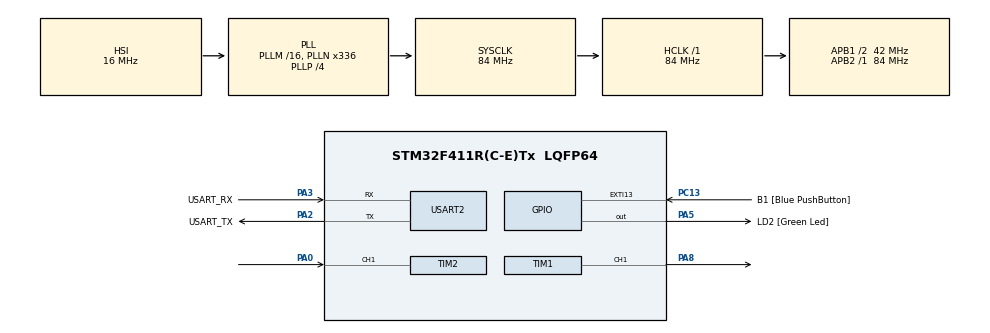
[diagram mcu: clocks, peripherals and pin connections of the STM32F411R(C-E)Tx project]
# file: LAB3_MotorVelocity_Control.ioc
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Dma.Request0=TIM2_CH1
Dma.TIM2_CH1.0.Direction=DMA_PERIPH_TO_MEMORY
Dma.TIM2_CH1.0.FIFOMode=DMA_FIFOMODE_DISABLE
Dma.TIM2_CH1.0.Instance=DMA1_Stream5
Dma.TIM2_CH1.0.MemDataAlignment=DMA_MDATAALIGN_WORD
Dma.TIM2_CH1.0.MemInc=DMA_MINC_ENABLE
Dma.TIM2_CH1.0.Mode=DMA_CIRCULAR
Dma.TIM2_CH1.0.PeriphDataAlignment=DMA_PDATAALIGN_WORD
Dma.TIM2_CH1.0.PeriphInc=DMA_PINC_DISABLE
Dma.TIM2_CH1.0.Priority=DMA_PRIORITY_LOW
Mcu.Family=STM32F4
Mcu.Name=STM32F411R(C-E)Tx
Mcu.Package=LQFP64
NVIC.DMA1_Stream5_IRQn=true\:0\:0\:false\:false\:true\:false\:true\:true
NVIC.PriorityGroup=NVIC_PRIORITYGROUP_0
PA0-WKUP.Signal=S_TIM2_CH1_ETR
PA13.GPIO_Label=TMS
PA13.Mode=Serial_Wire
PA13.Signal=SYS_JTMS-SWDIO
PA14.GPIO_Label=TCK
PA14.Mode=Serial_Wire
PA14.Signal=SYS_JTCK-SWCLK
PA2.GPIO_Label=USART_TX
PA2.Mode=Asynchronous
PA2.Signal=USART2_TX
PA3.GPIO_Label=USART_RX
PA3.Mode=Asynchronous
PA3.Signal=USART2_RX
PA5.GPIO_Label=LD2 [Green Led]
PA5.Signal=GPIO_Output
PA8.Signal=S_TIM1_CH1
PB3.GPIO_Label=SWO
PB3.Signal=SYS_JTDO-SWO
PC13-ANTI_TAMP.GPIO_Label=B1 [Blue PushButton]
PC13-ANTI_TAMP.GPIO_ModeDefaultEXTI=GPIO_MODE_IT_FALLING
PC13-ANTI_TAMP.Signal=GPXTI13
PC14-OSC32_IN.Mode=LSE-External-Oscillator
PC14-OSC32_IN.Signal=RCC_OSC32_IN
PC15-OSC32_OUT.Mode=LSE-External-Oscillator
PC15-OSC32_OUT.Signal=RCC_OSC32_OUT
PH0\ -\ OSC_IN.Mode=HSE-External-Clock-Source
PH0\ -\ OSC_IN.Signal=RCC_OSC_IN
PH1\ -\ OSC_OUT.Mode=HSE-External-Clock-Source
PH1\ -\ OSC_OUT.Signal=RCC_OSC_OUT
ProjectManager.HeapSize=0x200
ProjectManager.StackSize=0x400
ProjectManager.TargetToolchain=STM32CubeIDE
RCC.48MHZClocksFreq_Value=84000000
RCC.AHBFreq_Value=84000000
RCC.APB1CLKDivider=RCC_HCLK_DIV2
RCC.APB1Freq_Value=42000000
RCC.APB1TimFreq_Value=84000000
RCC.APB2Freq_Value=84000000
RCC.APB2TimFreq_Value=84000000
RCC.CortexFreq_Value=84000000
RCC.FLatency-AdvancedSettings=FLASH_LATENCY_2
RCC.HCLKFreq_Value=84000000
RCC.HSE_VALUE=8000000
RCC.HSI_VALUE=16000000
RCC.PLLN=336
RCC.PLLP=RCC_PLLP_DIV4
RCC.SYSCLKFreq_VALUE=84000000
RCC.SYSCLKSource=RCC_SYSCLKSOURCE_PLLCLK
RCC.VCOOutputFreq_Value=336000000
SH.S_TIM1_CH1.0=TIM1_CH1,PWM Generation1 CH1
SH.S_TIM2_CH1_ETR.0=TIM2_CH1,Input_Capture1_from_TI1
TIM1.Channel-PWM\ Generation1\ CH1=TIM_CHANNEL_1
TIM1.Period=999
TIM1.Prescaler=83
TIM1.Pulse-PWM\ Generation1\ CH1=500
TIM2.Channel-Input_Capture1_from_TI1=TIM_CHANNEL_1
TIM2.Prescaler=83
USART2.VirtualMode=VM_ASYNC
VP_TIM2_VS_ClockSourceINT.Mode=Internal
board=NUCLEO-F411RE

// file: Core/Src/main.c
/* USER CODE BEGIN Header */
/**
  ******************************************************************************
  * @file           : main.c
  * @brief          : Main program body
  ******************************************************************************
  * @attention
  *
  * Copyright (c) 2023 STMicroelectronics.
  * All rights reserved.
  *
  * This software is licensed under terms that can be found in the LICENSE file
  * in the root directory of this software component.
  * If no LICENSE file comes with this software, it is provided AS-IS.
  *
  ******************************************************************************
  */
/* USER CODE END Header */
#include "main.h"

/* USER CODE BEGIN Includes */

//Size of Input Capture's Buffer
#define IC_BUFFER_SIZE 20

/* USER CODE END Includes */

TIM_HandleTypeDef htim1;
TIM_HandleTypeDef htim2;
DMA_HandleTypeDef hdma_tim2_ch1;

UART_HandleTypeDef huart2;

/* USER CODE BEGIN PV */

uint32_t InCapBuffer[IC_BUFFER_SIZE];
uint32_t dutyCycle = 500;
float AvgRaisingEdgePeriod;		//Pulse period
float AvgMotorVelocity;			//rpm

int MotorControlEnable = 0;		//0 = Unable to control, 1 = Able to control
float MotorSetRPM;

uint32_t dutyCycleOut;
/* USER CODE END PV */

void SystemClock_Config(void);
static void MX_GPIO_Init(void);
static void MX_DMA_Init(void);
static void MX_USART2_UART_Init(void);
static void MX_TIM2_Init(void);
static void MX_TIM1_Init(void);
/* USER CODE BEGIN PFP */

float IC_Cal_Period();
/* USER CODE END PFP */

int main(void)
{

  /* MCU Configuration--------------------------------------------------------*/

  /* Reset of all peripherals, Initializes the Flash interface and the Systick. */
  HAL_Init();

  /* Configure the system clock */
  SystemClock_Config();

  /* Initialize all configured peripherals */
  MX_GPIO_Init();
  MX_DMA_Init();
  MX_USART2_UART_Init();
  MX_TIM2_Init();
  MX_TIM1_Init();
  /* USER CODE BEGIN 2 */

  HAL_TIM_Base_Start(&htim2);
  HAL_TIM_IC_Start_DMA(&htim2, TIM_CHANNEL_1, InCapBuffer, IC_BUFFER_SIZE);

  HAL_TIM_Base_Start(&htim1);
  HAL_TIM_PWM_Start(&htim1, TIM_CHANNEL_1);

  /* USER CODE END 2 */

  /* Infinite loop */
  while (1)
  {

    /* USER CODE BEGIN 3 */
	  static int plus = 0;
	  static uint32_t timestamp = 0;
	  if (HAL_GetTick() >= timestamp)
	  {
		  timestamp = HAL_GetTick() + 10;
		  AvgRaisingEdgePeriod = IC_Cal_Period() * 0.000001;	//In second
		  AvgMotorVelocity = 1.0/(AvgRaisingEdgePeriod * 12.0) * 60 / 64;	//rpm
		  switch (MotorControlEnable)
		  {
		  	  case 0:
		  		  __HAL_TIM_SET_COMPARE(&htim1, TIM_CHANNEL_1, abs(dutyCycle));
			  break;

		  	  case 1:
		  		  //MotorSetRPM = abs(MotorSetRPM);
		  		  dutyCycleOut = (0.0027*pow(MotorSetRPM,4.0) - 0.0517*pow(MotorSetRPM,3.0) + 0.321*pow(MotorSetRPM,2.0) + 3.3019*MotorSetRPM + 8.9974)*10 + plus;
		  		  __HAL_TIM_SET_COMPARE(&htim1, TIM_CHANNEL_1, dutyCycleOut);
		  		  if (AvgMotorVelocity < MotorSetRPM && dutyCycleOut <= 1000)
		  		  {
		  			  plus += 1;
		  		  }
		  		  else if (AvgMotorVelocity > MotorSetRPM && dutyCycleOut >= 100)
		  		  {
		  			  plus -= 1;
		  		  }
		  	  break;

		  }

	  }
  }
  /* USER CODE END 3 */
}

void SystemClock_Config(void)
{
  RCC_OscInitTypeDef RCC_OscInitStruct = {0};
  RCC_ClkInitTypeDef RCC_ClkInitStruct = {0};

  /** Configure the main internal regulator output voltage
  */
  __HAL_RCC_PWR_CLK_ENABLE();
  __HAL_PWR_VOLTAGESCALING_CONFIG(PWR_REGULATOR_VOLTAGE_SCALE1);

  /** Initializes the RCC Oscillators according to the specified parameters
  * in the RCC_OscInitTypeDef structure.
  */
  RCC_OscInitStruct.OscillatorType = RCC_OSCILLATORTYPE_HSI;
  RCC_OscInitStruct.HSIState = RCC_HSI_ON;
  RCC_OscInitStruct.HSICalibrationValue = RCC_HSICALIBRATION_DEFAULT;
  RCC_OscInitStruct.PLL.PLLState = RCC_PLL_ON;
  RCC_OscInitStruct.PLL.PLLSource = RCC_PLLSOURCE_HSI;
  RCC_OscInitStruct.PLL.PLLM = 16;
  RCC_OscInitStruct.PLL.PLLN = 336;
  RCC_OscInitStruct.PLL.PLLP = RCC_PLLP_DIV4;
  RCC_OscInitStruct.PLL.PLLQ = 4;
  if (HAL_RCC_OscConfig(&RCC_OscInitStruct) != HAL_OK)
  {
    Error_Handler();
  }

  /** Initializes the CPU, AHB and APB buses clocks
  */
  RCC_ClkInitStruct.ClockType = RCC_CLOCKTYPE_HCLK|RCC_CLOCKTYPE_SYSCLK
                              |RCC_CLOCKTYPE_PCLK1|RCC_CLOCKTYPE_PCLK2;
  RCC_ClkInitStruct.SYSCLKSource = RCC_SYSCLKSOURCE_PLLCLK;
  RCC_ClkInitStruct.AHBCLKDivider = RCC_SYSCLK_DIV1;
  RCC_ClkInitStruct.APB1CLKDivider = RCC_HCLK_DIV2;
  RCC_ClkInitStruct.APB2CLKDivider = RCC_HCLK_DIV1;

  if (HAL_RCC_ClockConfig(&RCC_ClkInitStruct, FLASH_LATENCY_2) != HAL_OK)
  {
    Error_Handler();
  }
}

static void MX_TIM1_Init(void)
{

  TIM_MasterConfigTypeDef sMasterConfig = {0};
  TIM_OC_InitTypeDef sConfigOC = {0};
  TIM_BreakDeadTimeConfigTypeDef sBreakDeadTimeConfig = {0};

  htim1.Instance = TIM1;
  htim1.Init.Prescaler = 83;
  htim1.Init.CounterMode = TIM_COUNTERMODE_UP;
  htim1.Init.Period = 999;
  htim1.Init.ClockDivision = TIM_CLOCKDIVISION_DIV1;
  htim1.Init.RepetitionCounter = 0;
  htim1.Init.AutoReloadPreload = TIM_AUTORELOAD_PRELOAD_DISABLE;
  if (HAL_TIM_PWM_Init(&htim1) != HAL_OK)
  {
    Error_Handler();
  }
  sMasterConfig.MasterOutputTrigger = TIM_TRGO_RESET;
  sMasterConfig.MasterSlaveMode = TIM_MASTERSLAVEMODE_DISABLE;
  if (HAL_TIMEx_MasterConfigSynchronization(&htim1, &sMasterConfig) != HAL_OK)
  {
    Error_Handler();
  }
  sConfigOC.OCMode = TIM_OCMODE_PWM1;
  sConfigOC.Pulse = 500;
  sConfigOC.OCPolarity = TIM_OCPOLARITY_HIGH;
  sConfigOC.OCNPolarity = TIM_OCNPOLARITY_HIGH;
  sConfigOC.OCFastMode = TIM_OCFAST_DISABLE;
  sConfigOC.OCIdleState = TIM_OCIDLESTATE_RESET;
  sConfigOC.OCNIdleState = TIM_OCNIDLESTATE_RESET;
  if (HAL_TIM_PWM_ConfigChannel(&htim1, &sConfigOC, TIM_CHANNEL_1) != HAL_OK)
  {
    Error_Handler();
  }
  sBreakDeadTimeConfig.OffStateRunMode = TIM_OSSR_DISABLE;
  sBreakDeadTimeConfig.OffStateIDLEMode = TIM_OSSI_DISABLE;
  sBreakDeadTimeConfig.LockLevel = TIM_LOCKLEVEL_OFF;
  sBreakDeadTimeConfig.DeadTime = 0;
  sBreakDeadTimeConfig.BreakState = TIM_BREAK_DISABLE;
  sBreakDeadTimeConfig.BreakPolarity = TIM_BREAKPOLARITY_HIGH;
  sBreakDeadTimeConfig.AutomaticOutput = TIM_AUTOMATICOUTPUT_DISABLE;
  if (HAL_TIMEx_ConfigBreakDeadTime(&htim1, &sBreakDeadTimeConfig) != HAL_OK)
  {
    Error_Handler();
  }
  HAL_TIM_MspPostInit(&htim1);

}

static void MX_TIM2_Init(void)
{

  TIM_ClockConfigTypeDef sClockSourceConfig = {0};
  TIM_MasterConfigTypeDef sMasterConfig = {0};
  TIM_IC_InitTypeDef sConfigIC = {0};

  htim2.Instance = TIM2;
  htim2.Init.Prescaler = 83;
  htim2.Init.CounterMode = TIM_COUNTERMODE_UP;
  htim2.Init.Period = 4294967295;
  htim2.Init.ClockDivision = TIM_CLOCKDIVISION_DIV1;
  htim2.Init.AutoReloadPreload = TIM_AUTORELOAD_PRELOAD_DISABLE;
  if (HAL_TIM_Base_Init(&htim2) != HAL_OK)
  {
    Error_Handler();
  }
  sClockSourceConfig.ClockSource = TIM_CLOCKSOURCE_INTERNAL;
  if (HAL_TIM_ConfigClockSource(&htim2, &sClockSourceConfig) != HAL_OK)
  {
    Error_Handler();
  }
  if (HAL_TIM_IC_Init(&htim2) != HAL_OK)
  {
    Error_Handler();
  }
  sMasterConfig.MasterOutputTrigger = TIM_TRGO_RESET;
  sMasterConfig.MasterSlaveMode = TIM_MASTERSLAVEMODE_DISABLE;
  if (HAL_TIMEx_MasterConfigSynchronization(&htim2, &sMasterConfig) != HAL_OK)
  {
    Error_Handler();
  }
  sConfigIC.ICPolarity = TIM_INPUTCHANNELPOLARITY_RISING;
  sConfigIC.ICSelection = TIM_ICSELECTION_DIRECTTI;
  sConfigIC.ICPrescaler = TIM_ICPSC_DIV1;
  sConfigIC.ICFilter = 0;
  if (HAL_TIM_IC_ConfigChannel(&htim2, &sConfigIC, TIM_CHANNEL_1) != HAL_OK)
  {
    Error_Handler();
  }

}

static void MX_USART2_UART_Init(void)
{

  huart2.Instance = USART2;
  huart2.Init.BaudRate = 115200;
  huart2.Init.WordLength = UART_WORDLENGTH_8B;
  huart2.Init.StopBits = UART_STOPBITS_1;
  huart2.Init.Parity = UART_PARITY_NONE;
  huart2.Init.Mode = UART_MODE_TX_RX;
  huart2.Init.HwFlowCtl = UART_HWCONTROL_NONE;
  huart2.Init.OverSampling = UART_OVERSAMPLING_16;
  if (HAL_UART_Init(&huart2) != HAL_OK)
  {
    Error_Handler();
  }

}

static void MX_DMA_Init(void)
{

  /* DMA controller clock enable */
  __HAL_RCC_DMA1_CLK_ENABLE();

  /* DMA interrupt init */
  /* DMA1_Stream5_IRQn interrupt configuration */
  HAL_NVIC_SetPriority(DMA1_Stream5_IRQn, 0, 0);
  HAL_NVIC_EnableIRQ(DMA1_Stream5_IRQn);

}

static void MX_GPIO_Init(void)
{
  GPIO_InitTypeDef GPIO_InitStruct = {0};

  /* GPIO Ports Clock Enable */
  __HAL_RCC_GPIOC_CLK_ENABLE();
  __HAL_RCC_GPIOH_CLK_ENABLE();
  __HAL_RCC_GPIOA_CLK_ENABLE();
  __HAL_RCC_GPIOB_CLK_ENABLE();

  /*Configure GPIO pin Output Level */
  HAL_GPIO_WritePin(LD2_GPIO_Port, LD2_Pin, GPIO_PIN_RESET);

  /*Configure GPIO pin : B1_Pin */
  GPIO_InitStruct.Pin = B1_Pin;
  GPIO_InitStruct.Mode = GPIO_MODE_IT_FALLING;
  GPIO_InitStruct.Pull = GPIO_NOPULL;
  HAL_GPIO_Init(B1_GPIO_Port, &GPIO_InitStruct);

  /*Configure GPIO pin : LD2_Pin */
  GPIO_InitStruct.Pin = LD2_Pin;
  GPIO_InitStruct.Mode = GPIO_MODE_OUTPUT_PP;
  GPIO_InitStruct.Pull = GPIO_NOPULL;
  GPIO_InitStruct.Speed = GPIO_SPEED_FREQ_LOW;
  HAL_GPIO_Init(LD2_GPIO_Port, &GPIO_InitStruct);

}

/* USER CODE BEGIN 4 */

float IC_Cal_Period()
{
	uint32_t CurrDMAPtrInd = IC_BUFFER_SIZE - __HAL_DMA_GET_COUNTER(htim2.hdma[1]);

	uint32_t LastDMAInd = (CurrDMAPtrInd - 1 + IC_BUFFER_SIZE) % IC_BUFFER_SIZE;

	uint32_t i = (LastDMAInd + IC_BUFFER_SIZE - 6) % IC_BUFFER_SIZE;

	int32_t sumdiff = 0;
	while(i != LastDMAInd)
	{
		uint32_t firstCap = InCapBuffer[i];
		uint32_t nextCap = InCapBuffer[(i+1)%IC_BUFFER_SIZE];

		sumdiff += nextCap - firstCap;
		i = (i+1)%IC_BUFFER_SIZE;
	}
	return sumdiff/5.0;
}

/* USER CODE END 4 */

void Error_Handler(void)
{
  __disable_irq();
  while (1)
  {
  }
}
